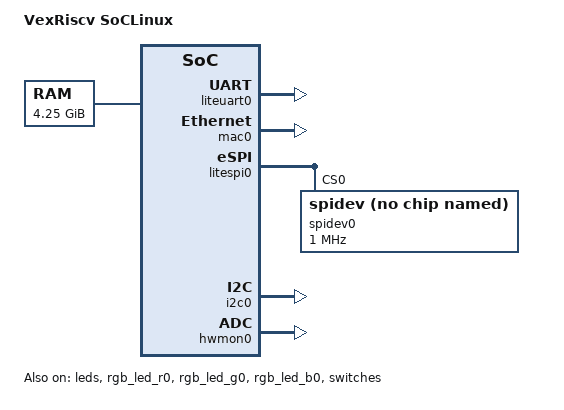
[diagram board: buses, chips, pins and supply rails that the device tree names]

/dts-v1/;

/ {
	#address-cells = <0x2>;
	#size-cells = <0x2>;
	compatible = "enjoy-digital,litex-vexriscv-soclinux";
	model = "VexRiscv SoCLinux";

	chosen {
		bootargs = "mem=256M@0xc0000000 rootwait console=liteuart earlycon=sbi root=/dev/ram0 init=/sbin/init swiotlb=32";
		linux,initrd-start = <0xc0800000>;
		linux,initrd-end   = <0xc1000000>;
	};

	cpus {
		#address-cells = <0x1>;
		#size-cells = <0x0>;
		timebase-frequency = <100000000>;

		cpu@0 {
			clock-frequency = <0x0>;
			compatible = "spinalhdl,vexriscv", "sifive,rocket0", "riscv";
			d-cache-block-size = <0x40>;
			d-cache-sets = <0x40>;
			d-cache-size = <0x8000>;
			d-tlb-sets = <0x1>;
			d-tlb-size = <0x20>;
			device_type = "cpu";
			i-cache-block-size = <0x40>;
			i-cache-sets = <0x40>;
			i-cache-size = <0x8000>;
			i-tlb-sets = <0x1>;
			i-tlb-size = <0x20>;
			mmu-type = "riscv,sv32";
			reg = <0x0>;
			riscv,isa = "rv32ima";
			sifive,itim = <0x1>;
			status = "okay";
			tlb-split;
		};
	};

	memory@c0000000 {
		device_type = "memory";
		reg = <0x0 0xc0000000 0x1 0x10000000>;
	};

	soc {
		#address-cells = <0x2>;
		#size-cells = <0x2>;
		compatible = "simple-bus";
		ranges;

		liteuart0: serial@f0001000 {
			device_type = "serial";
			compatible = "litex,liteuart";
			reg = <0x0 0xf0001000 0x0 0x100>;
			status = "okay";
		};
	
		mac0: mac@f0003800 {
			compatible = "litex,liteeth";
			reg = <0x0 0xf0003800 0x0 0x7c
				0x0 0xf0003000 0x0 0x0a
				0x0 0xb0000000 0x0 0x2000>;
			tx-fifo-depth = <2>;
			rx-fifo-depth = <2>;
		};
	
		leds: gpio@f0005800 {
			compatible = "litex,gpio";
			reg = <0x0 0xf0005800 0x0 0x4>;
			litex,direction = "out";
			status = "disabled";
		};
	
		rgb_led_r0: pwm@f0006000 {
	        compatible = "litex,pwm";
	        reg = <0x0 0xf0006000 0x0 0x24>;
	        clock = <100000000>;
	        #pwm-cells = <3>;
	        status = "okay";
	    };
	
		rgb_led_g0: pwm@f0006800 {
	        compatible = "litex,pwm";
	        reg = <0x0 0xf0006800 0x0 0x24>;
	        clock = <100000000>;
	        #pwm-cells = <3>;
	        status = "okay";
	    };
	
		rgb_led_b0: pwm@f0007000 {
	        compatible = "litex,pwm";
	        reg = <0x0 0xf0007000 0x0 0x24>;
	        clock = <100000000>;
	        #pwm-cells = <3>;
	        status = "okay";
	    };
	
		switches: gpio@f0007800 {
			compatible = "litex,gpio";
			reg = <0x0 0xf0007800 0x0 0x4>;
			litex,direction = "in";
			status = "disabled";
		};
	
	    litespi0: spi@f0008000 {
		    compatible = "litex,litespi";
		    reg = <0x0 0xf0008000 0x0 0x100>;
		    status = "okay";

		    litespi,max-bpw = <8>;
		    litespi,sck-frequency = <1000000>;
		    litespi,num-cs = <1>;

		    #address-cells = <0x1>;
		    #size-cells = <0x1>;

		    spidev0: spidev@0 {
			compatible = "linux,spidev";
			reg = <0 0>;
			spi-max-frequency = <1000000>;
			status = "okay";
		    };
	    };
    
		i2c0: i2c@f0008800 {
			compatible = "litex,i2c";
			reg = <0x0 0xf0008800 0x0 0x5>;
			status = "okay";
		};

		hwmon0: xadc@f0009000 {
			compatible = "litex,hwmon-xadc";
			reg = <0x0 0xf0009000 0x0 0x20>;
			status = "okay";
		};

	};

	aliases {

	   serial0 = &liteuart0;

	   spi0 = &litespi0;

	};

};

&leds {
	litex,ngpio = <4>;
	status = "okay";
};
	
&switches {
	litex,ngpio = <4>;
	status = "okay";
};
	
